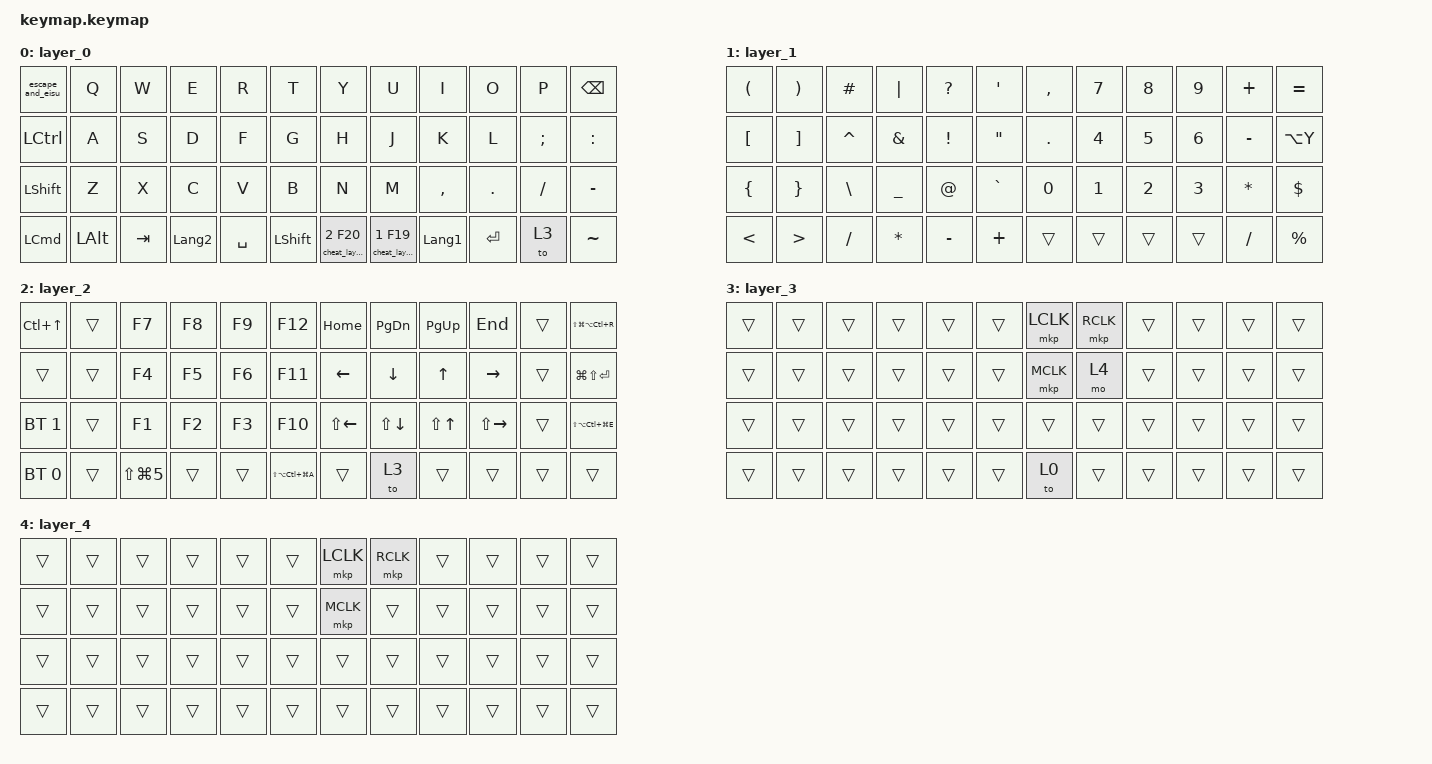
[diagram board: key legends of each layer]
#include <behaviors.dtsi>
#include <dt-bindings/zmk/bt.h>
#include <dt-bindings/zmk/keys.h>
#include <dt-bindings/zmk/pointing.h>

/ {
    macros {
        cheat_layer_key: cheat_layer_key {
            compatible = "zmk,behavior-macro-two-param";
            #binding-cells = <2>;
            wait-ms = <0>;
            tap-ms = <0>;
            bindings =
                <&macro_param_1to1>,
                <&macro_press>,
                <&mo MACRO_PLACEHOLDER &macro_param_2to1>,
                <&macro_press>,
                <&kp MACRO_PLACEHOLDER>,
                <&macro_pause_for_release>,
                <&macro_param_2to1>,
                <&macro_release>,
                <&kp MACRO_PLACEHOLDER &macro_param_1to1>,
                <&macro_release>,
                <&mo MACRO_PLACEHOLDER>;
        };

        escape_and_eisu: escape_and_eisu {
            compatible = "zmk,behavior-macro";
            #binding-cells = <0>;
            bindings = <&kp ESCAPE &kp LANGUAGE_2>;
            label = "ESCAPE_AND_EISU";
        };
    };

    keymap {
        compatible = "zmk,keymap";

        layer_0 {
            bindings = <
&escape_and_eisu  &kp Q         &kp W    &kp E           &kp R      &kp T           &kp Y                   &kp U                   &kp I           &kp O      &kp P          &kp BSPC
&kp LCTRL         &kp A         &kp S    &kp D           &kp F      &kp G           &kp H                   &kp J                   &kp K           &kp L      &kp SEMICOLON  &kp COLON
&kp LEFT_SHIFT    &kp Z         &kp X    &kp C           &kp V      &kp B           &kp N                   &kp M                   &kp COMMA       &kp DOT    &kp SLASH      &kp MINUS
&kp LEFT_COMMAND  &kp LEFT_ALT  &kp TAB  &kp LANGUAGE_2  &kp SPACE  &kp LEFT_SHIFT  &cheat_layer_key 2 F20  &cheat_layer_key 1 F19  &kp LANGUAGE_1  &kp ENTER  &to 3          &kp TILDE
            >;
        };

        layer_1 {
            bindings = <
&kp LEFT_PARENTHESIS  &kp RIGHT_PARENTHESIS  &kp HASH       &kp PIPE       &kp QUESTION     &kp SINGLE_QUOTE   &kp COMMA   &kp N7  &kp N8  &kp N9  &kp PLUS      &kp EQUAL
&kp LEFT_BRACKET      &kp RIGHT_BRACKET      &kp CARET      &kp AMPERSAND  &kp EXCLAMATION  &kp DOUBLE_QUOTES  &kp PERIOD  &kp N4  &kp N5  &kp N6  &kp MINUS     &kp LA(Y)
&kp LEFT_BRACE        &kp RIGHT_BRACE        &kp BACKSLASH  &kp UNDER      &kp AT_SIGN      &kp GRAVE          &kp N0      &kp N1  &kp N2  &kp N3  &kp ASTERISK  &kp DOLLAR
&kp LESS_THAN         &kp GREATER_THAN       &kp SLASH      &kp ASTERISK   &kp MINUS        &kp PLUS           &trans      &trans  &trans  &trans  &kp SLASH     &kp PERCENT
            >;
        };

        layer_2 {
            bindings = <
&kp LC(UP_ARROW)  &trans  &kp F7                &kp F8  &kp F9  &kp F12                &kp HOME            &kp PAGE_DOWN       &kp PAGE_UP       &kp END              &trans  &kp LS(LG(LA(LC(R))))
&trans            &trans  &kp F4                &kp F5  &kp F6  &kp F11                &kp LEFT            &kp DOWN            &kp UP            &kp RIGHT            &trans  &kp LG(LS(ENTER))
&bt BT_SEL 1      &trans  &kp F1                &kp F2  &kp F3  &kp F10                &kp LS(LEFT_ARROW)  &kp LS(DOWN_ARROW)  &kp LS(UP_ARROW)  &kp LS(RIGHT_ARROW)  &trans  &kp LS(LA(LC(LG(E))))
&bt BT_SEL 0      &trans  &kp LS(LG(NUMBER_5))  &trans  &trans  &kp LS(LA(LC(LG(A))))  &trans              &to 3               &trans            &trans               &trans  &trans
            >;
        };

        layer_3 {
            bindings = <
&trans  &trans  &trans  &trans  &trans  &trans  &mkp LCLK  &mkp RCLK  &trans  &trans  &trans  &trans
&trans  &trans  &trans  &trans  &trans  &trans  &mkp MCLK  &mo 4      &trans  &trans  &trans  &trans
&trans  &trans  &trans  &trans  &trans  &trans  &trans     &trans     &trans  &trans  &trans  &trans
&trans  &trans  &trans  &trans  &trans  &trans  &to 0      &trans     &trans  &trans  &trans  &trans
            >;
        };

        layer_4 {
            bindings = <
&trans  &trans  &trans  &trans  &trans  &trans  &mkp LCLK  &mkp RCLK  &trans  &trans  &trans  &trans
&trans  &trans  &trans  &trans  &trans  &trans  &mkp MCLK  &trans     &trans  &trans  &trans  &trans
&trans  &trans  &trans  &trans  &trans  &trans  &trans     &trans     &trans  &trans  &trans  &trans
&trans  &trans  &trans  &trans  &trans  &trans  &trans     &trans     &trans  &trans  &trans  &trans
            >;
        };
    };
};
